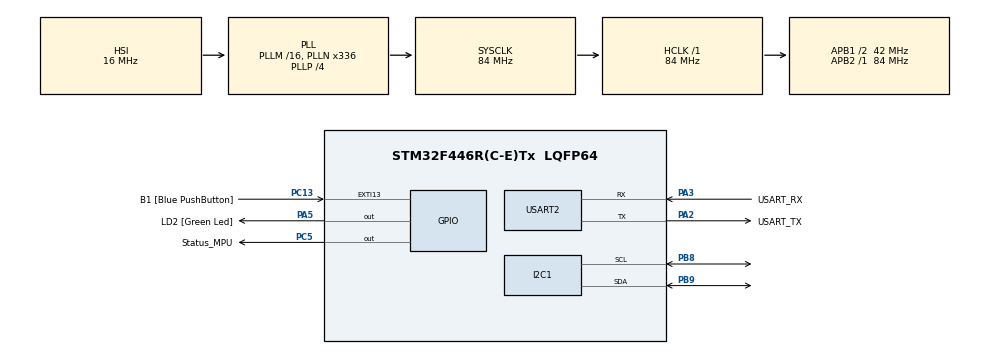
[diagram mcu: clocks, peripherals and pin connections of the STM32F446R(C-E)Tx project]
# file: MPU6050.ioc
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Mcu.Family=STM32F4
Mcu.Name=STM32F446R(C-E)Tx
Mcu.Package=LQFP64
NVIC.PriorityGroup=NVIC_PRIORITYGROUP_0
PA13.GPIO_Label=TMS
PA13.Mode=Serial_Wire
PA13.Signal=SYS_JTMS-SWDIO
PA14.GPIO_Label=TCK
PA14.Mode=Serial_Wire
PA14.Signal=SYS_JTCK-SWCLK
PA2.GPIO_Label=USART_TX
PA2.Mode=Asynchronous
PA2.Signal=USART2_TX
PA3.GPIO_Label=USART_RX
PA3.Mode=Asynchronous
PA3.Signal=USART2_RX
PA5.GPIO_Label=LD2 [Green Led]
PA5.Signal=GPIO_Output
PB3.GPIO_Label=SWO
PB3.Signal=SYS_JTDO-SWO
PB8.Mode=I2C
PB8.Signal=I2C1_SCL
PB9.Mode=I2C
PB9.Signal=I2C1_SDA
PC13.GPIO_Label=B1 [Blue PushButton]
PC13.GPIO_ModeDefaultEXTI=GPIO_MODE_IT_FALLING
PC13.Signal=GPXTI13
PC14-OSC32_IN.Mode=LSE-External-Oscillator
PC14-OSC32_IN.Signal=RCC_OSC32_IN
PC15-OSC32_OUT.Mode=LSE-External-Oscillator
PC15-OSC32_OUT.Signal=RCC_OSC32_OUT
PC5.GPIO_Label=Status_MPU
PC5.GPIO_PuPd=GPIO_PULLUP
PC5.Signal=GPIO_Output
PH0-OSC_IN.Mode=HSE-External-Oscillator
PH0-OSC_IN.Signal=RCC_OSC_IN
PH1-OSC_OUT.Mode=HSE-External-Oscillator
PH1-OSC_OUT.Signal=RCC_OSC_OUT
ProjectManager.HeapSize=0x200
ProjectManager.StackSize=0x400
ProjectManager.TargetToolchain=STM32CubeIDE
RCC.48MHZClocksFreq_Value=84000000
RCC.AHBFreq_Value=84000000
RCC.APB1CLKDivider=RCC_HCLK_DIV2
RCC.APB1Freq_Value=42000000
RCC.APB1TimFreq_Value=84000000
RCC.APB2Freq_Value=84000000
RCC.APB2TimFreq_Value=84000000
RCC.CortexFreq_Value=84000000
RCC.FLatency-AdvancedSettings=FLASH_LATENCY_2
RCC.HCLKFreq_Value=84000000
RCC.HSE_VALUE=8000000
RCC.HSI_VALUE=16000000
RCC.PLLN=336
RCC.PLLP=RCC_PLLP_DIV4
RCC.SYSCLKFreq_VALUE=84000000
RCC.SYSCLKSource=RCC_SYSCLKSOURCE_PLLCLK
RCC.USBFreq_Value=168000000
RCC.VCOOutputFreq_Value=336000000
USART2.VirtualMode=VM_ASYNC
board=NUCLEO-F446RE

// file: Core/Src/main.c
/* USER CODE BEGIN Header */
/**
  ******************************************************************************
  * @file           : main.c
  * @brief          : Main program body
  ******************************************************************************
  * @attention
  *
  * Copyright (c) 2022 STMicroelectronics.
  * All rights reserved.
  *
  * This software is licensed under terms that can be found in the LICENSE file
  * in the root directory of this software component.
  * If no LICENSE file comes with this software, it is provided AS-IS.
  *
  ******************************************************************************
  */
/* USER CODE END Header */
#include "main.h"

 I2C_HandleTypeDef hi2c1;

UART_HandleTypeDef huart2;

void SystemClock_Config(void);
static void MX_GPIO_Init(void);
static void MX_USART2_UART_Init(void);
static void MX_I2C1_Init(void);
/* USER CODE BEGIN PFP */
static void MPU6050_Init(void);
/* USER CODE END PFP */

/* USER CODE BEGIN 0 */
#define MPU6050_ADDR 		0xD0

#define WHO_AM_I_REG 		0x75
#define PWR_MGMT_1_REG 		0x6B
#define SMPLRT_DIV_REG 		0x19
#define GYRO_CONFIG_REG 	0x1B
#define ACCEL_CONFIG_REG 	0x1B

#define ACCEL_XOUT_H_REG 	0x3B
#define GYRO_XOUT_H_REG		0x43

/* USER CODE END 0 */

int main(void)
{

  /* MCU Configuration--------------------------------------------------------*/

  /* Reset of all peripherals, Initializes the Flash interface and the Systick. */
  HAL_Init();

  /* Configure the system clock */
  SystemClock_Config();

  /* Initialize all configured peripherals */
  MX_GPIO_Init();
  MX_USART2_UART_Init();
  MX_I2C1_Init();
  /* USER CODE BEGIN 2 */
  MPU6050_Init();
  uint8_t Rec_Data[6] = {0, 0, 0, 0, 0, 0};
  int16_t Accel_X_RAW = 0;
  int16_t Accel_Y_RAW = 0;
  int16_t Accel_Z_RAW = 0;
  float Ax = 0;
  float Ay = 0;
  float Az = 0;

  int16_t Gyro_X_RAW = 0;
  int16_t Gyro_Y_RAW = 0;
  int16_t Gyro_Z_RAW = 0;
  float Gx = 0;
  float Gy = 0;
  float Gz = 0;

	// Read 6 BYTES of data starting from ACCEL_XOUT_H register

	HAL_I2C_Mem_Read(&hi2c1, MPU6050_ADDR, ACCEL_XOUT_H_REG, 1, Rec_Data, 6, 1000);

	Accel_X_RAW = (int16_t)(Rec_Data[0] << 8 | Rec_Data [1]);
	Accel_Y_RAW = (int16_t)(Rec_Data[2] << 8 | Rec_Data [3]);
	Accel_Z_RAW = (int16_t)(Rec_Data[4] << 8 | Rec_Data [5]);

	Ax = Accel_X_RAW/16384.0;  // get the float g
	Ay = Accel_Y_RAW/16384.0;
	Az = Accel_Z_RAW/16384.0;

  /* USER CODE END 2 */

  /* Infinite loop */
  /* USER CODE BEGIN WHILE */
  while (1)
  {
	HAL_GPIO_WritePin(LD2_GPIO_Port, LD2_Pin, 1);
	HAL_Delay(500);
	HAL_GPIO_WritePin(LD2_GPIO_Port, LD2_Pin, 0);
	HAL_Delay(500);
	/*
	// Read 6 BYTES of data starting from ACCEL_XOUT_H register

	HAL_I2C_Mem_Read(&hi2c1, MPU6050_ADDR, ACCEL_XOUT_H_REG, 1, Rec_Data, 6, 1000);

	Accel_X_RAW = (int16_t)(Rec_Data[0] << 8 | Rec_Data [1]);
	Accel_Y_RAW = (int16_t)(Rec_Data[2] << 8 | Rec_Data [3]);
	Accel_Z_RAW = (int16_t)(Rec_Data[4] << 8 | Rec_Data [5]);

	Ax = Accel_X_RAW/16384.0;  // get the float g
	Ay = Accel_Y_RAW/16384.0;
	Az = Accel_Z_RAW/16384.0;

	// Read 6 BYTES of data starting from GYRO_XOUT_H register

	HAL_I2C_Mem_Read (&hi2c1, MPU6050_ADDR, GYRO_XOUT_H_REG, 1, Rec_Data, 6, 1000);

	Gyro_X_RAW = (int16_t)(Rec_Data[0] << 8 | Rec_Data [1]);
	Gyro_Y_RAW = (int16_t)(Rec_Data[2] << 8 | Rec_Data [3]);
	Gyro_Z_RAW = (int16_t)(Rec_Data[4] << 8 | Rec_Data [5]);

	Gx = Gyro_X_RAW/131.0;
	Gy = Gyro_Y_RAW/131.0;
	Gz = Gyro_Z_RAW/131.0;

	*/
    /* USER CODE END WHILE */

  }
}

void SystemClock_Config(void)
{
  RCC_OscInitTypeDef RCC_OscInitStruct = {0};
  RCC_ClkInitTypeDef RCC_ClkInitStruct = {0};

  /** Configure the main internal regulator output voltage
  */
  __HAL_RCC_PWR_CLK_ENABLE();
  __HAL_PWR_VOLTAGESCALING_CONFIG(PWR_REGULATOR_VOLTAGE_SCALE3);

  /** Initializes the RCC Oscillators according to the specified parameters
  * in the RCC_OscInitTypeDef structure.
  */
  RCC_OscInitStruct.OscillatorType = RCC_OSCILLATORTYPE_HSI;
  RCC_OscInitStruct.HSIState = RCC_HSI_ON;
  RCC_OscInitStruct.HSICalibrationValue = RCC_HSICALIBRATION_DEFAULT;
  RCC_OscInitStruct.PLL.PLLState = RCC_PLL_ON;
  RCC_OscInitStruct.PLL.PLLSource = RCC_PLLSOURCE_HSI;
  RCC_OscInitStruct.PLL.PLLM = 16;
  RCC_OscInitStruct.PLL.PLLN = 336;
  RCC_OscInitStruct.PLL.PLLP = RCC_PLLP_DIV4;
  RCC_OscInitStruct.PLL.PLLQ = 2;
  RCC_OscInitStruct.PLL.PLLR = 2;
  if (HAL_RCC_OscConfig(&RCC_OscInitStruct) != HAL_OK)
  {
    Error_Handler();
  }

  /** Initializes the CPU, AHB and APB buses clocks
  */
  RCC_ClkInitStruct.ClockType = RCC_CLOCKTYPE_HCLK|RCC_CLOCKTYPE_SYSCLK
                              |RCC_CLOCKTYPE_PCLK1|RCC_CLOCKTYPE_PCLK2;
  RCC_ClkInitStruct.SYSCLKSource = RCC_SYSCLKSOURCE_PLLCLK;
  RCC_ClkInitStruct.AHBCLKDivider = RCC_SYSCLK_DIV1;
  RCC_ClkInitStruct.APB1CLKDivider = RCC_HCLK_DIV2;
  RCC_ClkInitStruct.APB2CLKDivider = RCC_HCLK_DIV1;

  if (HAL_RCC_ClockConfig(&RCC_ClkInitStruct, FLASH_LATENCY_2) != HAL_OK)
  {
    Error_Handler();
  }
}

static void MX_I2C1_Init(void)
{

  hi2c1.Instance = I2C1;
  hi2c1.Init.ClockSpeed = 100000;
  hi2c1.Init.DutyCycle = I2C_DUTYCYCLE_2;
  hi2c1.Init.OwnAddress1 = 0;
  hi2c1.Init.AddressingMode = I2C_ADDRESSINGMODE_7BIT;
  hi2c1.Init.DualAddressMode = I2C_DUALADDRESS_DISABLE;
  hi2c1.Init.OwnAddress2 = 0;
  hi2c1.Init.GeneralCallMode = I2C_GENERALCALL_DISABLE;
  hi2c1.Init.NoStretchMode = I2C_NOSTRETCH_DISABLE;
  if (HAL_I2C_Init(&hi2c1) != HAL_OK)
  {
    Error_Handler();
  }

}

static void MX_USART2_UART_Init(void)
{

  huart2.Instance = USART2;
  huart2.Init.BaudRate = 115200;
  huart2.Init.WordLength = UART_WORDLENGTH_8B;
  huart2.Init.StopBits = UART_STOPBITS_1;
  huart2.Init.Parity = UART_PARITY_NONE;
  huart2.Init.Mode = UART_MODE_TX_RX;
  huart2.Init.HwFlowCtl = UART_HWCONTROL_NONE;
  huart2.Init.OverSampling = UART_OVERSAMPLING_16;
  if (HAL_UART_Init(&huart2) != HAL_OK)
  {
    Error_Handler();
  }

}

static void MX_GPIO_Init(void)
{
  GPIO_InitTypeDef GPIO_InitStruct = {0};

  /* GPIO Ports Clock Enable */
  __HAL_RCC_GPIOC_CLK_ENABLE();
  __HAL_RCC_GPIOH_CLK_ENABLE();
  __HAL_RCC_GPIOA_CLK_ENABLE();
  __HAL_RCC_GPIOB_CLK_ENABLE();

  /*Configure GPIO pin Output Level */
  HAL_GPIO_WritePin(LD2_GPIO_Port, LD2_Pin, GPIO_PIN_RESET);

  /*Configure GPIO pin Output Level */
  HAL_GPIO_WritePin(Status_MPU_GPIO_Port, Status_MPU_Pin, GPIO_PIN_RESET);

  /*Configure GPIO pin : B1_Pin */
  GPIO_InitStruct.Pin = B1_Pin;
  GPIO_InitStruct.Mode = GPIO_MODE_IT_FALLING;
  GPIO_InitStruct.Pull = GPIO_NOPULL;
  HAL_GPIO_Init(B1_GPIO_Port, &GPIO_InitStruct);

  /*Configure GPIO pin : LD2_Pin */
  GPIO_InitStruct.Pin = LD2_Pin;
  GPIO_InitStruct.Mode = GPIO_MODE_OUTPUT_PP;
  GPIO_InitStruct.Pull = GPIO_NOPULL;
  GPIO_InitStruct.Speed = GPIO_SPEED_FREQ_LOW;
  HAL_GPIO_Init(LD2_GPIO_Port, &GPIO_InitStruct);

  /*Configure GPIO pin : Status_MPU_Pin */
  GPIO_InitStruct.Pin = Status_MPU_Pin;
  GPIO_InitStruct.Mode = GPIO_MODE_OUTPUT_PP;
  GPIO_InitStruct.Pull = GPIO_PULLUP;
  GPIO_InitStruct.Speed = GPIO_SPEED_FREQ_LOW;
  HAL_GPIO_Init(Status_MPU_GPIO_Port, &GPIO_InitStruct);

}

/* USER CODE BEGIN 4 */
static void MPU6050_Init(void)
{
	uint8_t check, data;

	HAL_I2C_Mem_Read (&hi2c1, MPU6050_ADDR, WHO_AM_I_REG, 1, &check, 1, 1000);
	if (check == 104)
	{
		HAL_GPIO_WritePin(Status_MPU_GPIO_Port, Status_MPU_Pin, 1);
	}

	// power management register 0X6B we should write all 0's to wake the sensor up
	data = 0;
	HAL_I2C_Mem_Write(&hi2c1, MPU6050_ADDR, PWR_MGMT_1_REG, 1, &data, 1, 1000);

	// Set DATA RATE of 1KHz by writing SMPLRT_DIV register
	data = 0x07;
	HAL_I2C_Mem_Write(&hi2c1, MPU6050_ADDR, SMPLRT_DIV_REG, 1, &data, 1, 1000);

	// Set DATA RATE of 1KHz by writing SMPLRT_DIV register
	data = 0x00;
	HAL_I2C_Mem_Write(&hi2c1, MPU6050_ADDR, GYRO_CONFIG_REG, 1, &data, 1, 1000);

	// Set DATA RATE of 1KHz by writing SMPLRT_DIV register
	data = 0x00;
	HAL_I2C_Mem_Write(&hi2c1, MPU6050_ADDR, ACCEL_CONFIG_REG, 1, &data, 1, 1000);
}
/* USER CODE END 4 */

void Error_Handler(void)
{
  __disable_irq();
  while (1)
  {
  }
}
